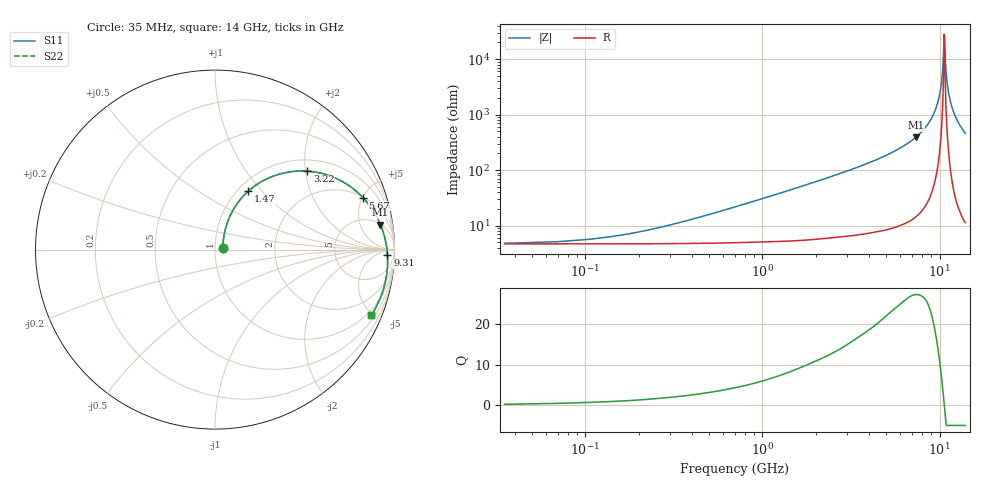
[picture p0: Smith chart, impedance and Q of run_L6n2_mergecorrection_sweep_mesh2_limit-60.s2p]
#  Hz  S  RI  R  50
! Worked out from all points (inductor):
!   400 points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, 35 MHz to 14 GHz, reference 50 ohm
!   read as one part in series: L = 4.77 nH near 490 MHz
!   highest Q = 27.3 at 7.35 GHz (marker M1), where L = 8.45 nH
!   self-resonance near 10.64 GHz
!   S11 on the Smith chart (normalised r, x): 35 MHz: 1.09, +0.02; 1.47 GHz: 1.12, +0.85; 3.22 GHz: 1.27, +2.05; 5.67 GHz: 2.06, +5.05; 9.31 GHz: 30, -25; 14 GHz: 0.71, -4.85
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3.5e7  0.0435 0.00888  0.9543 -0.0104  0.9543 -0.0104  0.0435 0.00888
3.5e8  0.052 0.0882  0.9423 -0.1023  0.9423 -0.1023  0.052 0.0882
6.3e8  0.0711 0.1562  0.9172 -0.178  0.9172 -0.178  0.0711 0.1561
1.47e9  0.1856 0.326  0.791 -0.3552  0.791 -0.3552  0.1856 0.3258
2.38e9  0.3593 0.4206  0.6148 -0.4592  0.6148 -0.4592  0.3592 0.4204
3.22e9  0.515 0.4373  0.4573 -0.4848  0.4573 -0.4848  0.5149 0.4371
4.69e9  0.7282 0.3683  0.2419 -0.4333  0.2419 -0.4333  0.7281 0.3681
5.67e9  0.8244 0.2899  0.1443 -0.3668  0.1443 -0.3668  0.8243 0.2896
7.035e9  0.909 0.168  0.0578 -0.2618  0.0577 -0.2618  0.9088 0.1677
7.35e9  0.9219 0.1395  0.0443 -0.2372  0.0443 -0.2372  0.9217 0.1391
9.31e9  0.961 -0.0319  0.00166 -0.0906  0.00159 -0.0906  0.9608 -0.0322
9.345e9  0.9612 -0.0348  0.00144 -0.0881  0.00137 -0.0881  0.9609 -0.0351
9.905e9  0.9616 -0.0806  -0.000112 -0.0493  -0.000193 -0.0493  0.9614 -0.081
1.0255e10  0.9601 -0.1086  0.000794 -0.0258  0.000706 -0.0258  0.9598 -0.109
1.0465e10  0.9584 -0.1251  0.002 -0.0121  0.00191 -0.0121  0.9582 -0.1255
1.064e10  0.9566 -0.1387  0.00337 -0.000747  0.00328 -0.000743  0.9564 -0.1391
1.0815e10  0.9545 -0.1521  0.00506 0.0104  0.00496 0.0104  0.9543 -0.1524
1.099e10  0.9521 -0.1653  0.00705 0.0214  0.00695 0.0214  0.9519 -0.1656
1.127e10  0.9477 -0.186  0.0108 0.0385  0.0107 0.0385  0.9475 -0.1864
1.169e10  0.9399 -0.2164  0.0178 0.0635  0.0177 0.0635  0.9396 -0.2168
1.2635e10  0.9163 -0.2815  0.0389 0.1162  0.0388 0.1162  0.916 -0.2818
1.4e10  0.8706 -0.3664  0.081 0.1831  0.0808 0.1832  0.8703 -0.3666
